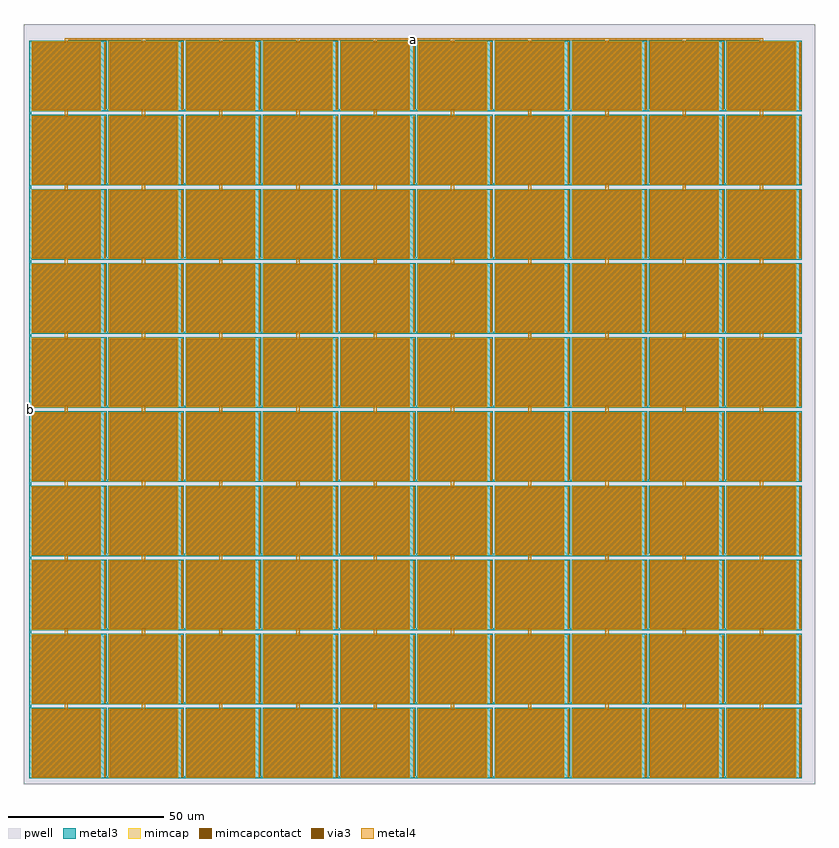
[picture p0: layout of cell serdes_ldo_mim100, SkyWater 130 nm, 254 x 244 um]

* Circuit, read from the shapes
.subckt serdes_ldo_mim100 a b
XC1 a b sky130_fd_pr__cap_mim_m3_1 w=22.2 l=22.2 m=100
.ends

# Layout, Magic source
magic
tech sky130A
magscale 1 2
<< pwell >>
rect 0 0 50800 48800
<< metal3 >>
rect 456 356 5310 4884
rect 5416 356 10270 4884
rect 10376 356 15230 4884
rect 15336 356 20190 4884
rect 20296 356 25150 4884
rect 25256 356 30110 4884
rect 30216 356 35070 4884
rect 35176 356 40030 4884
rect 40136 356 44990 4884
rect 45096 356 49950 4884
rect 400 356 49950 490
rect 456 5116 5310 9644
rect 5416 5116 10270 9644
rect 10376 5116 15230 9644
rect 15336 5116 20190 9644
rect 20296 5116 25150 9644
rect 25256 5116 30110 9644
rect 30216 5116 35070 9644
rect 35176 5116 40030 9644
rect 40136 5116 44990 9644
rect 45096 5116 49950 9644
rect 400 5116 49950 5250
rect 456 9876 5310 14404
rect 5416 9876 10270 14404
rect 10376 9876 15230 14404
rect 15336 9876 20190 14404
rect 20296 9876 25150 14404
rect 25256 9876 30110 14404
rect 30216 9876 35070 14404
rect 35176 9876 40030 14404
rect 40136 9876 44990 14404
rect 45096 9876 49950 14404
rect 400 9876 49950 10010
rect 456 14636 5310 19164
rect 5416 14636 10270 19164
rect 10376 14636 15230 19164
rect 15336 14636 20190 19164
rect 20296 14636 25150 19164
rect 25256 14636 30110 19164
rect 30216 14636 35070 19164
rect 35176 14636 40030 19164
rect 40136 14636 44990 19164
rect 45096 14636 49950 19164
rect 400 14636 49950 14770
rect 456 19396 5310 23924
rect 5416 19396 10270 23924
rect 10376 19396 15230 23924
rect 15336 19396 20190 23924
rect 20296 19396 25150 23924
rect 25256 19396 30110 23924
rect 30216 19396 35070 23924
rect 35176 19396 40030 23924
rect 40136 19396 44990 23924
rect 45096 19396 49950 23924
rect 400 19396 49950 19530
rect 456 24156 5310 28684
rect 5416 24156 10270 28684
rect 10376 24156 15230 28684
rect 15336 24156 20190 28684
rect 20296 24156 25150 28684
rect 25256 24156 30110 28684
rect 30216 24156 35070 28684
rect 35176 24156 40030 28684
rect 40136 24156 44990 28684
rect 45096 24156 49950 28684
rect 400 24156 49950 24290
rect 456 28916 5310 33444
rect 5416 28916 10270 33444
rect 10376 28916 15230 33444
rect 15336 28916 20190 33444
rect 20296 28916 25150 33444
rect 25256 28916 30110 33444
rect 30216 28916 35070 33444
rect 35176 28916 40030 33444
rect 40136 28916 44990 33444
rect 45096 28916 49950 33444
rect 400 28916 49950 29050
rect 456 33676 5310 38204
rect 5416 33676 10270 38204
rect 10376 33676 15230 38204
rect 15336 33676 20190 38204
rect 20296 33676 25150 38204
rect 25256 33676 30110 38204
rect 30216 33676 35070 38204
rect 35176 33676 40030 38204
rect 40136 33676 44990 38204
rect 45096 33676 49950 38204
rect 400 33676 49950 33810
rect 456 38436 5310 42964
rect 5416 38436 10270 42964
rect 10376 38436 15230 42964
rect 15336 38436 20190 42964
rect 20296 38436 25150 42964
rect 25256 38436 30110 42964
rect 30216 38436 35070 42964
rect 35176 38436 40030 42964
rect 40136 38436 44990 42964
rect 45096 38436 49950 42964
rect 400 38436 49950 38570
rect 456 43196 5310 47724
rect 5416 43196 10270 47724
rect 10376 43196 15230 47724
rect 15336 43196 20190 47724
rect 20296 43196 25150 47724
rect 25256 43196 30110 47724
rect 30216 43196 35070 47724
rect 35176 43196 40030 47724
rect 40136 43196 44990 47724
rect 45096 43196 49950 47724
rect 400 43196 49950 43330
rect 340 356 470 47724
<< mimcap >>
rect 500 400 4940 4840
rect 5460 400 9900 4840
rect 10420 400 14860 4840
rect 15380 400 19820 4840
rect 20340 400 24780 4840
rect 25300 400 29740 4840
rect 30260 400 34700 4840
rect 35220 400 39660 4840
rect 40180 400 44620 4840
rect 45140 400 49580 4840
rect 500 5160 4940 9600
rect 5460 5160 9900 9600
rect 10420 5160 14860 9600
rect 15380 5160 19820 9600
rect 20340 5160 24780 9600
rect 25300 5160 29740 9600
rect 30260 5160 34700 9600
rect 35220 5160 39660 9600
rect 40180 5160 44620 9600
rect 45140 5160 49580 9600
rect 500 9920 4940 14360
rect 5460 9920 9900 14360
rect 10420 9920 14860 14360
rect 15380 9920 19820 14360
rect 20340 9920 24780 14360
rect 25300 9920 29740 14360
rect 30260 9920 34700 14360
rect 35220 9920 39660 14360
rect 40180 9920 44620 14360
rect 45140 9920 49580 14360
rect 500 14680 4940 19120
rect 5460 14680 9900 19120
rect 10420 14680 14860 19120
rect 15380 14680 19820 19120
rect 20340 14680 24780 19120
rect 25300 14680 29740 19120
rect 30260 14680 34700 19120
rect 35220 14680 39660 19120
rect 40180 14680 44620 19120
rect 45140 14680 49580 19120
rect 500 19440 4940 23880
rect 5460 19440 9900 23880
rect 10420 19440 14860 23880
rect 15380 19440 19820 23880
rect 20340 19440 24780 23880
rect 25300 19440 29740 23880
rect 30260 19440 34700 23880
rect 35220 19440 39660 23880
rect 40180 19440 44620 23880
rect 45140 19440 49580 23880
rect 500 24200 4940 28640
rect 5460 24200 9900 28640
rect 10420 24200 14860 28640
rect 15380 24200 19820 28640
rect 20340 24200 24780 28640
rect 25300 24200 29740 28640
rect 30260 24200 34700 28640
rect 35220 24200 39660 28640
rect 40180 24200 44620 28640
rect 45140 24200 49580 28640
rect 500 28960 4940 33400
rect 5460 28960 9900 33400
rect 10420 28960 14860 33400
rect 15380 28960 19820 33400
rect 20340 28960 24780 33400
rect 25300 28960 29740 33400
rect 30260 28960 34700 33400
rect 35220 28960 39660 33400
rect 40180 28960 44620 33400
rect 45140 28960 49580 33400
rect 500 33720 4940 38160
rect 5460 33720 9900 38160
rect 10420 33720 14860 38160
rect 15380 33720 19820 38160
rect 20340 33720 24780 38160
rect 25300 33720 29740 38160
rect 30260 33720 34700 38160
rect 35220 33720 39660 38160
rect 40180 33720 44620 38160
rect 45140 33720 49580 38160
rect 500 38480 4940 42920
rect 5460 38480 9900 42920
rect 10420 38480 14860 42920
rect 15380 38480 19820 42920
rect 20340 38480 24780 42920
rect 25300 38480 29740 42920
rect 30260 38480 34700 42920
rect 35220 38480 39660 42920
rect 40180 38480 44620 42920
rect 45140 38480 49580 42920
rect 500 43240 4940 47680
rect 5460 43240 9900 47680
rect 10420 43240 14860 47680
rect 15380 43240 19820 47680
rect 20340 43240 24780 47680
rect 25300 43240 29740 47680
rect 30260 43240 34700 47680
rect 35220 43240 39660 47680
rect 40180 43240 44620 47680
rect 45140 43240 49580 47680
<< mimcapcontact >>
rect 540 440 4900 4800
rect 5500 440 9860 4800
rect 10460 440 14820 4800
rect 15420 440 19780 4800
rect 20380 440 24740 4800
rect 25340 440 29700 4800
rect 30300 440 34660 4800
rect 35260 440 39620 4800
rect 40220 440 44580 4800
rect 45180 440 49540 4800
rect 540 5200 4900 9560
rect 5500 5200 9860 9560
rect 10460 5200 14820 9560
rect 15420 5200 19780 9560
rect 20380 5200 24740 9560
rect 25340 5200 29700 9560
rect 30300 5200 34660 9560
rect 35260 5200 39620 9560
rect 40220 5200 44580 9560
rect 45180 5200 49540 9560
rect 540 9960 4900 14320
rect 5500 9960 9860 14320
rect 10460 9960 14820 14320
rect 15420 9960 19780 14320
rect 20380 9960 24740 14320
rect 25340 9960 29700 14320
rect 30300 9960 34660 14320
rect 35260 9960 39620 14320
rect 40220 9960 44580 14320
rect 45180 9960 49540 14320
rect 540 14720 4900 19080
rect 5500 14720 9860 19080
rect 10460 14720 14820 19080
rect 15420 14720 19780 19080
rect 20380 14720 24740 19080
rect 25340 14720 29700 19080
rect 30300 14720 34660 19080
rect 35260 14720 39620 19080
rect 40220 14720 44580 19080
rect 45180 14720 49540 19080
rect 540 19480 4900 23840
rect 5500 19480 9860 23840
rect 10460 19480 14820 23840
rect 15420 19480 19780 23840
rect 20380 19480 24740 23840
rect 25340 19480 29700 23840
rect 30300 19480 34660 23840
rect 35260 19480 39620 23840
rect 40220 19480 44580 23840
rect 45180 19480 49540 23840
rect 540 24240 4900 28600
rect 5500 24240 9860 28600
rect 10460 24240 14820 28600
rect 15420 24240 19780 28600
rect 20380 24240 24740 28600
rect 25340 24240 29700 28600
rect 30300 24240 34660 28600
rect 35260 24240 39620 28600
rect 40220 24240 44580 28600
rect 45180 24240 49540 28600
rect 540 29000 4900 33360
rect 5500 29000 9860 33360
rect 10460 29000 14820 33360
rect 15420 29000 19780 33360
rect 20380 29000 24740 33360
rect 25340 29000 29700 33360
rect 30300 29000 34660 33360
rect 35260 29000 39620 33360
rect 40220 29000 44580 33360
rect 45180 29000 49540 33360
rect 540 33760 4900 38120
rect 5500 33760 9860 38120
rect 10460 33760 14820 38120
rect 15420 33760 19780 38120
rect 20380 33760 24740 38120
rect 25340 33760 29700 38120
rect 30300 33760 34660 38120
rect 35260 33760 39620 38120
rect 40220 33760 44580 38120
rect 45180 33760 49540 38120
rect 540 38520 4900 42880
rect 5500 38520 9860 42880
rect 10460 38520 14820 42880
rect 15420 38520 19780 42880
rect 20380 38520 24740 42880
rect 25340 38520 29700 42880
rect 30300 38520 34660 42880
rect 35260 38520 39620 42880
rect 40220 38520 44580 42880
rect 45180 38520 49540 42880
rect 540 43280 4900 47640
rect 5500 43280 9860 47640
rect 10460 43280 14820 47640
rect 15420 43280 19780 47640
rect 20380 43280 24740 47640
rect 25340 43280 29700 47640
rect 30300 43280 34660 47640
rect 35260 43280 39620 47640
rect 40220 43280 44580 47640
rect 45180 43280 49540 47640
<< metal4 >>
rect 540 440 4900 4800
rect 5150 440 5270 4800
rect 5500 440 9860 4800
rect 10110 440 10230 4800
rect 10460 440 14820 4800
rect 15070 440 15190 4800
rect 15420 440 19780 4800
rect 20030 440 20150 4800
rect 20380 440 24740 4800
rect 24990 440 25110 4800
rect 25340 440 29700 4800
rect 29950 440 30070 4800
rect 30300 440 34660 4800
rect 34910 440 35030 4800
rect 35260 440 39620 4800
rect 39870 440 39990 4800
rect 40220 440 44580 4800
rect 44830 440 44950 4800
rect 45180 440 49540 4800
rect 49790 440 49910 4800
rect 540 5200 4900 9560
rect 5150 5200 5270 9560
rect 5500 5200 9860 9560
rect 10110 5200 10230 9560
rect 10460 5200 14820 9560
rect 15070 5200 15190 9560
rect 15420 5200 19780 9560
rect 20030 5200 20150 9560
rect 20380 5200 24740 9560
rect 24990 5200 25110 9560
rect 25340 5200 29700 9560
rect 29950 5200 30070 9560
rect 30300 5200 34660 9560
rect 34910 5200 35030 9560
rect 35260 5200 39620 9560
rect 39870 5200 39990 9560
rect 40220 5200 44580 9560
rect 44830 5200 44950 9560
rect 45180 5200 49540 9560
rect 49790 5200 49910 9560
rect 540 9960 4900 14320
rect 5150 9960 5270 14320
rect 5500 9960 9860 14320
rect 10110 9960 10230 14320
rect 10460 9960 14820 14320
rect 15070 9960 15190 14320
rect 15420 9960 19780 14320
rect 20030 9960 20150 14320
rect 20380 9960 24740 14320
rect 24990 9960 25110 14320
rect 25340 9960 29700 14320
rect 29950 9960 30070 14320
rect 30300 9960 34660 14320
rect 34910 9960 35030 14320
rect 35260 9960 39620 14320
rect 39870 9960 39990 14320
rect 40220 9960 44580 14320
rect 44830 9960 44950 14320
rect 45180 9960 49540 14320
rect 49790 9960 49910 14320
rect 540 14720 4900 19080
rect 5150 14720 5270 19080
rect 5500 14720 9860 19080
rect 10110 14720 10230 19080
rect 10460 14720 14820 19080
rect 15070 14720 15190 19080
rect 15420 14720 19780 19080
rect 20030 14720 20150 19080
rect 20380 14720 24740 19080
rect 24990 14720 25110 19080
rect 25340 14720 29700 19080
rect 29950 14720 30070 19080
rect 30300 14720 34660 19080
rect 34910 14720 35030 19080
rect 35260 14720 39620 19080
rect 39870 14720 39990 19080
rect 40220 14720 44580 19080
rect 44830 14720 44950 19080
rect 45180 14720 49540 19080
rect 49790 14720 49910 19080
rect 540 19480 4900 23840
rect 5150 19480 5270 23840
rect 5500 19480 9860 23840
rect 10110 19480 10230 23840
rect 10460 19480 14820 23840
rect 15070 19480 15190 23840
rect 15420 19480 19780 23840
rect 20030 19480 20150 23840
rect 20380 19480 24740 23840
rect 24990 19480 25110 23840
rect 25340 19480 29700 23840
rect 29950 19480 30070 23840
rect 30300 19480 34660 23840
rect 34910 19480 35030 23840
rect 35260 19480 39620 23840
rect 39870 19480 39990 23840
rect 40220 19480 44580 23840
rect 44830 19480 44950 23840
rect 45180 19480 49540 23840
rect 49790 19480 49910 23840
rect 540 24240 4900 28600
rect 5150 24240 5270 28600
rect 5500 24240 9860 28600
rect 10110 24240 10230 28600
rect 10460 24240 14820 28600
rect 15070 24240 15190 28600
rect 15420 24240 19780 28600
rect 20030 24240 20150 28600
rect 20380 24240 24740 28600
rect 24990 24240 25110 28600
rect 25340 24240 29700 28600
rect 29950 24240 30070 28600
rect 30300 24240 34660 28600
rect 34910 24240 35030 28600
rect 35260 24240 39620 28600
rect 39870 24240 39990 28600
rect 40220 24240 44580 28600
rect 44830 24240 44950 28600
rect 45180 24240 49540 28600
rect 49790 24240 49910 28600
rect 540 29000 4900 33360
rect 5150 29000 5270 33360
rect 5500 29000 9860 33360
rect 10110 29000 10230 33360
rect 10460 29000 14820 33360
rect 15070 29000 15190 33360
rect 15420 29000 19780 33360
rect 20030 29000 20150 33360
rect 20380 29000 24740 33360
rect 24990 29000 25110 33360
rect 25340 29000 29700 33360
rect 29950 29000 30070 33360
rect 30300 29000 34660 33360
rect 34910 29000 35030 33360
rect 35260 29000 39620 33360
rect 39870 29000 39990 33360
rect 40220 29000 44580 33360
rect 44830 29000 44950 33360
rect 45180 29000 49540 33360
rect 49790 29000 49910 33360
rect 540 33760 4900 38120
rect 5150 33760 5270 38120
rect 5500 33760 9860 38120
rect 10110 33760 10230 38120
rect 10460 33760 14820 38120
rect 15070 33760 15190 38120
rect 15420 33760 19780 38120
rect 20030 33760 20150 38120
rect 20380 33760 24740 38120
rect 24990 33760 25110 38120
rect 25340 33760 29700 38120
rect 29950 33760 30070 38120
rect 30300 33760 34660 38120
rect 34910 33760 35030 38120
rect 35260 33760 39620 38120
rect 39870 33760 39990 38120
rect 40220 33760 44580 38120
rect 44830 33760 44950 38120
rect 45180 33760 49540 38120
rect 49790 33760 49910 38120
rect 540 38520 4900 42880
rect 5150 38520 5270 42880
rect 5500 38520 9860 42880
rect 10110 38520 10230 42880
rect 10460 38520 14820 42880
rect 15070 38520 15190 42880
rect 15420 38520 19780 42880
rect 20030 38520 20150 42880
rect 20380 38520 24740 42880
rect 24990 38520 25110 42880
rect 25340 38520 29700 42880
rect 29950 38520 30070 42880
rect 30300 38520 34660 42880
rect 34910 38520 35030 42880
rect 35260 38520 39620 42880
rect 39870 38520 39990 42880
rect 40220 38520 44580 42880
rect 44830 38520 44950 42880
rect 45180 38520 49540 42880
rect 49790 38520 49910 42880
rect 540 43280 4900 47640
rect 5150 43280 5270 47640
rect 5500 43280 9860 47640
rect 10110 43280 10230 47640
rect 10460 43280 14820 47640
rect 15070 43280 15190 47640
rect 15420 43280 19780 47640
rect 20030 43280 20150 47640
rect 20380 43280 24740 47640
rect 24990 43280 25110 47640
rect 25340 43280 29700 47640
rect 29950 43280 30070 47640
rect 30300 43280 34660 47640
rect 34910 43280 35030 47640
rect 35260 43280 39620 47640
rect 39870 43280 39990 47640
rect 40220 43280 44580 47640
rect 44830 43280 44950 47640
rect 45180 43280 49540 47640
rect 49790 43280 49910 47640
rect 2620 500 2820 47844
rect 7580 500 7780 47844
rect 12540 500 12740 47844
rect 17500 500 17700 47844
rect 22460 500 22660 47844
rect 27420 500 27620 47844
rect 32380 500 32580 47844
rect 37340 500 37540 47844
rect 42300 500 42500 47844
rect 47260 500 47460 47844
rect 2620 47744 47460 47884
<< via3 >>
rect 5166 480 5254 4760
rect 10126 480 10214 4760
rect 15086 480 15174 4760
rect 20046 480 20134 4760
rect 25006 480 25094 4760
rect 29966 480 30054 4760
rect 34926 480 35014 4760
rect 39886 480 39974 4760
rect 44846 480 44934 4760
rect 49806 480 49894 4760
rect 5166 5240 5254 9520
rect 10126 5240 10214 9520
rect 15086 5240 15174 9520
rect 20046 5240 20134 9520
rect 25006 5240 25094 9520
rect 29966 5240 30054 9520
rect 34926 5240 35014 9520
rect 39886 5240 39974 9520
rect 44846 5240 44934 9520
rect 49806 5240 49894 9520
rect 5166 10000 5254 14280
rect 10126 10000 10214 14280
rect 15086 10000 15174 14280
rect 20046 10000 20134 14280
rect 25006 10000 25094 14280
rect 29966 10000 30054 14280
rect 34926 10000 35014 14280
rect 39886 10000 39974 14280
rect 44846 10000 44934 14280
rect 49806 10000 49894 14280
rect 5166 14760 5254 19040
rect 10126 14760 10214 19040
rect 15086 14760 15174 19040
rect 20046 14760 20134 19040
rect 25006 14760 25094 19040
rect 29966 14760 30054 19040
rect 34926 14760 35014 19040
rect 39886 14760 39974 19040
rect 44846 14760 44934 19040
rect 49806 14760 49894 19040
rect 5166 19520 5254 23800
rect 10126 19520 10214 23800
rect 15086 19520 15174 23800
rect 20046 19520 20134 23800
rect 25006 19520 25094 23800
rect 29966 19520 30054 23800
rect 34926 19520 35014 23800
rect 39886 19520 39974 23800
rect 44846 19520 44934 23800
rect 49806 19520 49894 23800
rect 5166 24280 5254 28560
rect 10126 24280 10214 28560
rect 15086 24280 15174 28560
rect 20046 24280 20134 28560
rect 25006 24280 25094 28560
rect 29966 24280 30054 28560
rect 34926 24280 35014 28560
rect 39886 24280 39974 28560
rect 44846 24280 44934 28560
rect 49806 24280 49894 28560
rect 5166 29040 5254 33320
rect 10126 29040 10214 33320
rect 15086 29040 15174 33320
rect 20046 29040 20134 33320
rect 25006 29040 25094 33320
rect 29966 29040 30054 33320
rect 34926 29040 35014 33320
rect 39886 29040 39974 33320
rect 44846 29040 44934 33320
rect 49806 29040 49894 33320
rect 5166 33800 5254 38080
rect 10126 33800 10214 38080
rect 15086 33800 15174 38080
rect 20046 33800 20134 38080
rect 25006 33800 25094 38080
rect 29966 33800 30054 38080
rect 34926 33800 35014 38080
rect 39886 33800 39974 38080
rect 44846 33800 44934 38080
rect 49806 33800 49894 38080
rect 5166 38560 5254 42840
rect 10126 38560 10214 42840
rect 15086 38560 15174 42840
rect 20046 38560 20134 42840
rect 25006 38560 25094 42840
rect 29966 38560 30054 42840
rect 34926 38560 35014 42840
rect 39886 38560 39974 42840
rect 44846 38560 44934 42840
rect 49806 38560 49894 42840
rect 5166 43320 5254 47600
rect 10126 43320 10214 47600
rect 15086 43320 15174 47600
rect 20046 43320 20134 47600
rect 25006 43320 25094 47600
rect 29966 43320 30054 47600
rect 34926 43320 35014 47600
rect 39886 43320 39974 47600
rect 44846 43320 44934 47600
rect 49806 43320 49894 47600
<< labels >>
rlabel metal4 25040 47814 25040 47814 1 a
rlabel metal3 404 24062 404 24062 1 b
<< end >>
